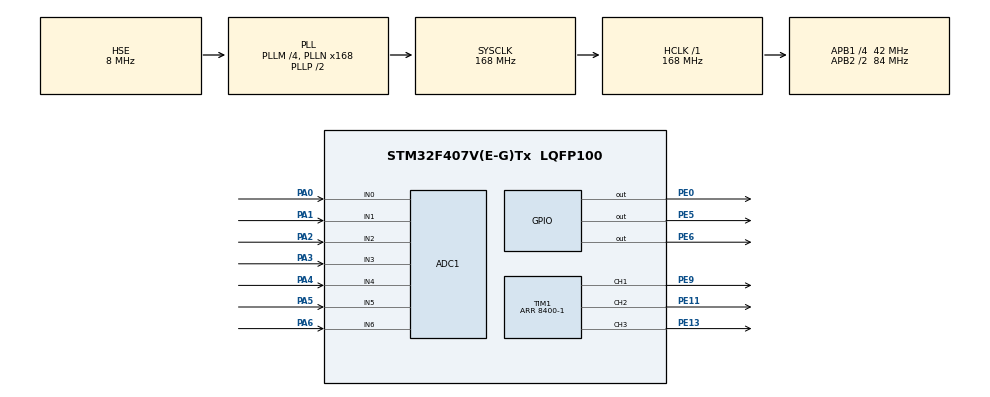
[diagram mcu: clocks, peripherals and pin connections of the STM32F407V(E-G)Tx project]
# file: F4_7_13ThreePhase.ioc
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ADC1.Channel-0\#ChannelRegularConversion=ADC_CHANNEL_0
ADC1.Channel-1\#ChannelRegularConversion=ADC_CHANNEL_1
ADC1.Channel-10\#ChannelRegularConversion=ADC_CHANNEL_6
ADC1.Channel-11\#ChannelRegularConversion=ADC_CHANNEL_0
ADC1.Channel-2\#ChannelRegularConversion=ADC_CHANNEL_2
ADC1.Channel-8\#ChannelRegularConversion=ADC_CHANNEL_3
ADC1.Channel-9\#ChannelRegularConversion=ADC_CHANNEL_5
ADC1.DMAContinuousRequests=ENABLE
ADC1.NbrOfConversion=7
ADC1.NbrOfConversionFlag=1
ADC1.Rank-0\#ChannelRegularConversion=1
ADC1.Rank-1\#ChannelRegularConversion=2
ADC1.Rank-10\#ChannelRegularConversion=6
ADC1.Rank-11\#ChannelRegularConversion=7
ADC1.Rank-2\#ChannelRegularConversion=3
ADC1.Rank-8\#ChannelRegularConversion=4
ADC1.Rank-9\#ChannelRegularConversion=5
ADC1.SamplingTime-0\#ChannelRegularConversion=ADC_SAMPLETIME_28CYCLES
ADC1.SamplingTime-1\#ChannelRegularConversion=ADC_SAMPLETIME_28CYCLES
ADC1.SamplingTime-10\#ChannelRegularConversion=ADC_SAMPLETIME_28CYCLES
ADC1.SamplingTime-11\#ChannelRegularConversion=ADC_SAMPLETIME_28CYCLES
ADC1.SamplingTime-2\#ChannelRegularConversion=ADC_SAMPLETIME_28CYCLES
ADC1.SamplingTime-8\#ChannelRegularConversion=ADC_SAMPLETIME_28CYCLES
ADC1.SamplingTime-9\#ChannelRegularConversion=ADC_SAMPLETIME_28CYCLES
ADC1.ScanConvMode=ENABLE
ADC1.master=1
Dma.ADC1.0.Direction=DMA_PERIPH_TO_MEMORY
Dma.ADC1.0.FIFOMode=DMA_FIFOMODE_DISABLE
Dma.ADC1.0.Instance=DMA2_Stream0
Dma.ADC1.0.MemDataAlignment=DMA_MDATAALIGN_HALFWORD
Dma.ADC1.0.MemInc=DMA_MINC_ENABLE
Dma.ADC1.0.Mode=DMA_CIRCULAR
Dma.ADC1.0.PeriphDataAlignment=DMA_PDATAALIGN_HALFWORD
Dma.ADC1.0.PeriphInc=DMA_PINC_DISABLE
Dma.ADC1.0.Priority=DMA_PRIORITY_HIGH
Dma.Request0=ADC1
Mcu.Family=STM32F4
Mcu.Name=STM32F407V(E-G)Tx
Mcu.Package=LQFP100
NVIC.DMA2_Stream0_IRQn=true\:0\:0\:false\:false\:true\:false\:true\:true
NVIC.PriorityGroup=NVIC_PRIORITYGROUP_4
NVIC.TIM1_BRK_TIM9_IRQn=true\:0\:0\:false\:false\:true\:true\:true\:true
NVIC.TIM1_CC_IRQn=true\:0\:0\:false\:false\:true\:true\:true\:true
NVIC.TIM1_TRG_COM_TIM11_IRQn=true\:0\:0\:false\:false\:true\:true\:true\:true
NVIC.TIM1_UP_TIM10_IRQn=true\:0\:0\:false\:false\:true\:true\:true\:true
NVIC.TIM2_IRQn=true\:0\:0\:false\:false\:true\:true\:true\:true
NVIC.TIM3_IRQn=true\:0\:0\:false\:false\:true\:true\:true\:true
PA0-WKUP.Signal=ADCx_IN0
PA1.Signal=ADCx_IN1
PA13.Mode=Serial_Wire
PA13.Signal=SYS_JTMS-SWDIO
PA14.Mode=Serial_Wire
PA14.Signal=SYS_JTCK-SWCLK
PA2.Signal=ADCx_IN2
PA3.Signal=ADCx_IN3
PA4.Signal=ADCx_IN4
PA5.Signal=ADCx_IN5
PA6.Signal=ADCx_IN6
PC14-OSC32_IN.Mode=LSE-External-Oscillator
PC14-OSC32_IN.Signal=RCC_OSC32_IN
PC15-OSC32_OUT.Mode=LSE-External-Oscillator
PC15-OSC32_OUT.Signal=RCC_OSC32_OUT
PE0.GPIO_Speed=GPIO_SPEED_FREQ_HIGH
PE0.Signal=GPIO_Output
PE11.Signal=S_TIM1_CH2
PE13.Signal=S_TIM1_CH3
PE5.GPIO_Speed=GPIO_SPEED_FREQ_HIGH
PE5.Signal=GPIO_Output
PE6.GPIO_Speed=GPIO_SPEED_FREQ_HIGH
PE6.Signal=GPIO_Output
PE9.Signal=S_TIM1_CH1
PH0-OSC_IN.Mode=HSE-External-Oscillator
PH0-OSC_IN.Signal=RCC_OSC_IN
PH1-OSC_OUT.Mode=HSE-External-Oscillator
PH1-OSC_OUT.Signal=RCC_OSC_OUT
ProjectManager.HeapSize=0x200
ProjectManager.StackSize=0x400
ProjectManager.TargetToolchain=MDK-ARM V5.32
RCC.48MHZClocksFreq_Value=84000000
RCC.AHBFreq_Value=168000000
RCC.APB1CLKDivider=RCC_HCLK_DIV4
RCC.APB1Freq_Value=42000000
RCC.APB1TimFreq_Value=84000000
RCC.APB2CLKDivider=RCC_HCLK_DIV2
RCC.APB2Freq_Value=84000000
RCC.APB2TimFreq_Value=168000000
RCC.CortexFreq_Value=168000000
RCC.HCLKFreq_Value=168000000
RCC.HSE_VALUE=8000000
RCC.HSI_VALUE=16000000
RCC.PLLM=4
RCC.PLLN=168
RCC.PLLSourceVirtual=RCC_PLLSOURCE_HSE
RCC.SYSCLKFreq_VALUE=168000000
RCC.SYSCLKSource=RCC_SYSCLKSOURCE_PLLCLK
RCC.VCOOutputFreq_Value=336000000
SH.ADCx_IN0.0=ADC1_IN0,IN0
SH.ADCx_IN1.0=ADC1_IN1,IN1
SH.ADCx_IN2.0=ADC1_IN2,IN2
SH.ADCx_IN3.0=ADC1_IN3,IN3
SH.ADCx_IN4.0=ADC1_IN4,IN4
SH.ADCx_IN5.0=ADC1_IN5,IN5
SH.ADCx_IN6.0=ADC1_IN6,IN6
SH.S_TIM1_CH1.0=TIM1_CH1,PWM Generation1 CH1
SH.S_TIM1_CH2.0=TIM1_CH2,PWM Generation2 CH2
SH.S_TIM1_CH3.0=TIM1_CH3,PWM Generation3 CH3
STMicroelectronics.X-CUBE-ALGOBUILD.1.3.0.LibraryCcDSPOoLibraryJjDSPOoLibrary=true
TIM1.AutoReloadPreload=TIM_AUTORELOAD_PRELOAD_ENABLE
TIM1.Channel-PWM\ Generation1\ CH1=TIM_CHANNEL_1
TIM1.Channel-PWM\ Generation2\ CH2=TIM_CHANNEL_2
TIM1.Channel-PWM\ Generation3\ CH3=TIM_CHANNEL_3
TIM1.CounterMode=TIM_COUNTERMODE_CENTERALIGNED1
TIM1.Period=8400-1
TIM2.AutoReloadPreload=TIM_AUTORELOAD_PRELOAD_ENABLE
TIM2.Period=2100-1
TIM3.AutoReloadPreload=TIM_AUTORELOAD_PRELOAD_ENABLE
TIM3.Period=8400-1
VP_STMicroelectronics.X-CUBE-ALGOBUILD_VS_DSPOoLibraryJjLibrary_1.3.0_1.3.0.Mode=DSPOoLibraryJjLibrary
VP_TIM1_VS_ClockSourceINT.Mode=Internal
VP_TIM2_VS_ClockSourceINT.Mode=Internal
VP_TIM3_VS_ClockSourceINT.Mode=Internal
board=custom

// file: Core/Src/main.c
/* USER CODE BEGIN Header */
/**
  ******************************************************************************
  * @file           : main.c
  * @brief          : Main program body
  ******************************************************************************
  * @attention
  *
  * Copyright (c) 2023 STMicroelectronics.
  * All rights reserved.
  *
  * This software is licensed under terms that can be found in the LICENSE file
  * in the root directory of this software component.
  * If no LICENSE file comes with this software, it is provided AS-IS.
  *
  ******************************************************************************
  */
/* USER CODE END Header */
#include "main.h"
#include "adc.h"
#include "dma.h"
#include "tim.h"
#include "gpio.h"

/* USER CODE BEGIN Includes */
#include "cleck.h"
#include "Svpwm.h"
#include "Ave_Sam.h"
#include "Park.h"
#include "math.h"
#include "PLL.h"
#include "arm_math.h"
#include "Smping.h"
#include "Ave_FL.h"

/* USER CODE END Includes */

/* USER CODE BEGIN PTD */
CLECK Cleck,Cleck_1;
PARK  Park;
AD_Detc AD_detc;

float U_spwm,V_spwm,W_spwm,A_spwm,B_spwm,C_spwm;
float Sin_A,Sin_B,Sin_C;

float Udetc_f,Vdetc_f,Wdetc_f,U_phase,V_phase,U_phase,V_phase,W_phase,Un=1.f,Vn=1.f,Wn=1.f,U_data,V_data,W_data,U_Sin,V_Sin,W_Sin,UL;
float Theta1,sin_data,cos_data;
float Vdc=12.f;
float Um=8.f;
float Out;
uint16_t time_count;
float sumU,sumV,sumW;
float U_ref,V_ref,W_ref;

float Omega=0.f;
float Uk;
uint16_t Flag=0;

/* USER CODE END PTD */

void SystemClock_Config(void);

int main(void)
{

  /* MCU Configuration--------------------------------------------------------*/

  /* Reset of all peripherals, Initializes the Flash interface and the Systick. */
  HAL_Init();

  /* Configure the system clock */
  SystemClock_Config();

  /* Initialize all configured peripherals */
  MX_GPIO_Init();
  MX_DMA_Init();
  MX_ADC1_Init();
  MX_TIM1_Init();
  MX_TIM2_Init();
  MX_TIM3_Init();
  /* USER CODE BEGIN 2 */
	HAL_TIM_Base_Start_IT(&htim2);
	HAL_TIM_Base_Start_IT(&htim3);
	HAL_TIM_Base_Start_IT(&htim1);
	HAL_TIM_PWM_Start(&htim1,TIM_CHANNEL_1);
	HAL_TIM_PWM_Start(&htim1,TIM_CHANNEL_2);
	HAL_TIM_PWM_Start(&htim1,TIM_CHANNEL_3);

  /* USER CODE END 2 */

  /* Infinite loop */
  while (1)
  {

  }
}

void SystemClock_Config(void)
{
  RCC_OscInitTypeDef RCC_OscInitStruct = {0};
  RCC_ClkInitTypeDef RCC_ClkInitStruct = {0};

  /** Configure the main internal regulator output voltage
  */
  __HAL_RCC_PWR_CLK_ENABLE();
  __HAL_PWR_VOLTAGESCALING_CONFIG(PWR_REGULATOR_VOLTAGE_SCALE1);

  /** Initializes the RCC Oscillators according to the specified parameters
  * in the RCC_OscInitTypeDef structure.
  */
  RCC_OscInitStruct.OscillatorType = RCC_OSCILLATORTYPE_HSE;
  RCC_OscInitStruct.HSEState = RCC_HSE_ON;
  RCC_OscInitStruct.PLL.PLLState = RCC_PLL_ON;
  RCC_OscInitStruct.PLL.PLLSource = RCC_PLLSOURCE_HSE;
  RCC_OscInitStruct.PLL.PLLM = 4;
  RCC_OscInitStruct.PLL.PLLN = 168;
  RCC_OscInitStruct.PLL.PLLP = RCC_PLLP_DIV2;
  RCC_OscInitStruct.PLL.PLLQ = 4;
  if (HAL_RCC_OscConfig(&RCC_OscInitStruct) != HAL_OK)
  {
    Error_Handler();
  }

  /** Initializes the CPU, AHB and APB buses clocks
  */
  RCC_ClkInitStruct.ClockType = RCC_CLOCKTYPE_HCLK|RCC_CLOCKTYPE_SYSCLK
                              |RCC_CLOCKTYPE_PCLK1|RCC_CLOCKTYPE_PCLK2;
  RCC_ClkInitStruct.SYSCLKSource = RCC_SYSCLKSOURCE_PLLCLK;
  RCC_ClkInitStruct.AHBCLKDivider = RCC_SYSCLK_DIV1;
  RCC_ClkInitStruct.APB1CLKDivider = RCC_HCLK_DIV4;
  RCC_ClkInitStruct.APB2CLKDivider = RCC_HCLK_DIV2;

  if (HAL_RCC_ClockConfig(&RCC_ClkInitStruct, FLASH_LATENCY_5) != HAL_OK)
  {
    Error_Handler();
  }
}

/* USER CODE BEGIN 4 */

void HAL_TIM_PeriodElapsedCallback(TIM_HandleTypeDef *htim)
{

	if(htim==&htim3)
	{
		Sin_Start(10000,5,12);

		Get_ADC(&AD_detc);
		Get_Real(&AD_detc);
//		U_ref=Ave_Sam_u(Udetc_f,20);
//		V_ref=Ave_Sam_i(Vdetc_f,20);
//		W_ref=Ave_Sam_w(Wdetc_f,20);

//		///////////////////对AD_Buf取平均
//		U_data=(U_ref-1.654f)/0.0202f;
//    V_data=(V_ref-1.654f)/0.0202f;
//		W_data=(W_ref-1.654f)/0.0202f;

		time_count++;
		sumU+=U_data*U_data;
		sumV+=V_data*V_data;
		sumW+=W_data*W_data;
		if(time_count==200)
			{
				time_count=0;
				Un=sqrt(sumU*0.005f);//
				sumU=0.f;//
				Vn=sqrt(sumV*0.005f);//
				sumV=0.f;//
				Wn=sqrt(sumW*0.005f);//
				sumW=0.f;//
			}
		Out=sqrt_3*Um/Vdc;

		U_phase=Out*U_data/sqrt_2/Un;
		V_phase=Out*V_data/sqrt_2/Vn;
    W_phase=Out*W_data/sqrt_2/Wn;	//在第一次时将Wn定义为1否则inf

		if(Flag==1)
		{
			HAL_GPIO_WritePin(GPIOE,GPIO_PIN_0,GPIO_PIN_SET);
			HAL_GPIO_WritePin(GPIOE,GPIO_PIN_5,GPIO_PIN_SET);
			HAL_GPIO_WritePin(GPIOE,GPIO_PIN_6,GPIO_PIN_SET);
		}
		if(Flag==0)
		{
			HAL_GPIO_WritePin(GPIOE,GPIO_PIN_0,GPIO_PIN_RESET);
			HAL_GPIO_WritePin(GPIOE,GPIO_PIN_5,GPIO_PIN_RESET);
			HAL_GPIO_WritePin(GPIOE,GPIO_PIN_6,GPIO_PIN_RESET);
		}

	}
		if(htim==&htim2)
	{

    cos_data=(U_phase-0.5f*V_phase-0.5f*W_phase)*2.f/3.f;
    sin_data=(0.8660254f*V_phase-0.8660254f*W_phase)*2.f/3.f;
    Uk=sqrt(cos_data*cos_data+sin_data*sin_data);
			if(sin_data>0&&cos_data>0)
		{
			Theta1=atanf(sin_data/cos_data);
		}
		if(sin_data<0&& cos_data>0)
		{
			Theta1=atanf(sin_data/cos_data);
		}
		if(sin_data>0 && cos_data<0)
		{
			Theta1=  PI - atanf((sin_data)/(-cos_data));
		}
		if(sin_data<0 && cos_data<0)
		{
			Theta1=PI + atanf((-sin_data)/(-cos_data));
		}

		Cleck_1.Valpha=Uk*cosf(Theta1+Omega/360.f*2.f*PI);//0.35
  	Cleck_1.Vbeta=Uk*sinf(Theta1+Omega/360.f*2.f*PI);
//		Svpwm(&Cleck_1,U_phase,V_phase,W_phase);
		TIM1->CCR1=U_spwm-320.f;
		TIM1->CCR2=W_spwm;
		TIM1->CCR3=V_spwm;

////		Cleck.Ialpha=(Sin_A-0.5f*Sin_B-0.5f*Sin_C)*2/3;
////  	Cleck.Ibeta=(0.8660254f*Sin_B-0.8660254f*Sin_C)*2/3;
////		Park.Id=Cleck.Ialpha*Cleck.Valpha+Cleck.Ibeta*Cleck.Vbeta;
////		Park.Iq=-Cleck.Ialpha*Cleck.Vbeta+Cleck.Ibeta*Cleck.Valpha;

	}
}
/* USER CODE END 4 */

void Error_Handler(void)
{
  __disable_irq();
  while (1)
  {
  }
}
